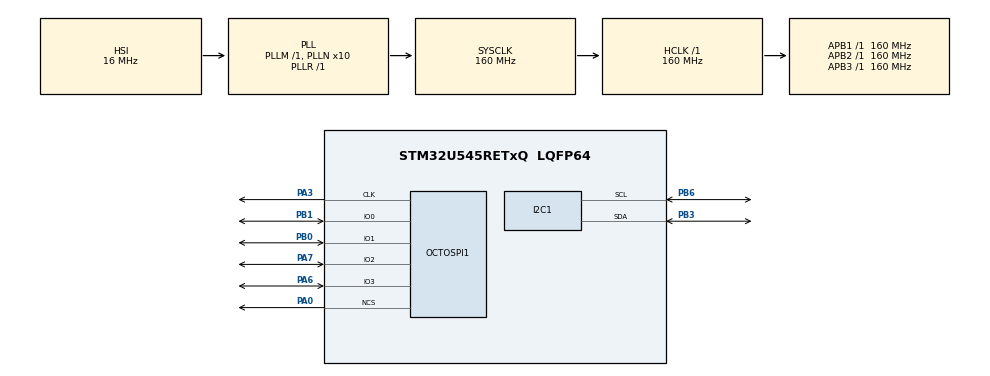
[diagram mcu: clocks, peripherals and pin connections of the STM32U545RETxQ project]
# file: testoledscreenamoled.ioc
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CORTEX_M33_NS.userName=CORTEX_M33
GPDMA1.IPHANDLE_GPDMACH0-SIMPLEREQUEST_GPDMACH0=__NULL
GPDMA1.REQUEST_GPDMACH0=GPDMA1_REQUEST_OCTOSPI1
I2C1.Timing=0x30909DEC
Mcu.Family=STM32U5
Mcu.Name=STM32U545RETxQ
Mcu.Package=LQFP64
NUCLEO-U545RE-Q.BUTTON=1
NUCLEO-U545RE-Q.LD2=true
NUCLEO-U545RE-Q.VCP=true
NVIC.EXTI13_IRQn=true\:0\:0\:false\:false\:true\:false\:true\:true
NVIC.GPDMA1_Channel0_IRQn=true\:0\:0\:false\:false\:true\:false\:true\:true
NVIC.OCTOSPI1_IRQn=true\:0\:0\:false\:false\:true\:true\:true\:true
NVIC.PriorityGroup=NVIC_PRIORITYGROUP_4
OCTOSPI1.ChipSelectHighTime=2
OCTOSPI1.ClockPrescaler=32
OCTOSPI1.FifoThreshold=4
PA0.GPIO_Speed=GPIO_SPEED_FREQ_LOW
PA0.Mode=quad_mode
PA0.Signal=OCTOSPI1_NCS
PA3.GPIO_Speed=GPIO_SPEED_FREQ_LOW
PA3.Mode=quad_mode
PA3.Signal=OCTOSPI1_CLK
PA6.GPIO_Speed=GPIO_SPEED_FREQ_LOW
PA6.Mode=quad_mode
PA6.Signal=OCTOSPI1_IO3
PA7.GPIO_Speed=GPIO_SPEED_FREQ_LOW
PA7.Mode=quad_mode
PA7.Signal=OCTOSPI1_IO2
PB0.GPIO_Speed=GPIO_SPEED_FREQ_LOW
PB0.Mode=quad_mode
PB0.Signal=OCTOSPI1_IO1
PB1.GPIO_Speed=GPIO_SPEED_FREQ_LOW
PB1.Mode=quad_mode
PB1.Signal=OCTOSPI1_IO0
PB3\ (JTDO/TRACESWO).Mode=I2C
PB3\ (JTDO/TRACESWO).Signal=I2C1_SDA
PB6.Mode=I2C
PB6.Signal=I2C1_SCL
PWR.PowerMode=PWR_SMPS_SUPPLY
ProjectManager.HeapSize=0x200
ProjectManager.StackSize=0x400
ProjectManager.TargetToolchain=CMake
RCC.ADCFreq_Value=16000000
RCC.AHBFreq_Value=160000000
RCC.APB1Freq_Value=160000000
RCC.APB1TimFreq_Value=160000000
RCC.APB2Freq_Value=160000000
RCC.APB2TimFreq_Value=160000000
RCC.APB3Freq_Value=160000000
RCC.CortexFreq_Value=160000000
RCC.DACCLockSelectionVirtual=RCC_DAC1CLKSOURCE_LSI
RCC.DACCLockSelectionVirtualString=RCC_DAC1CLKSOURCE_LSI
RCC.EPOD_VALUE=16000000
RCC.HCLKFreq_Value=160000000
RCC.HSE_VALUE=16000000
RCC.HSI48_VALUE=48000000
RCC.HSI_VALUE=16000000
RCC.LSE_VALUE=32768
RCC.LSIDIV_VALUE=32000
RCC.MSI_VALUE=4000000
RCC.PLL1R=1
RCC.PLLFRACN=0
RCC.PLLN=10
RCC.PLLSourceVirtual=RCC_PLLSOURCE_HSI
RCC.SYSCLKFreq_VALUE=160000000
RCC.SYSCLKSource=RCC_SYSCLKSOURCE_PLLCLK
RCC.USBFreq_Value=48000000
RCC.VCOOutputFreq_Value=160000000
VP_GPDMA1_VS_GPDMACH0.Mode=SIMPLEREQUEST_GPDMACH0
VP_ICACHE_VS_ICACHE.Mode=DirectMappedCache
VP_LPBAMQUEUE_VS_QUEUE.Mode=QUEUEMODE
VP_MEMORYMAP_VS_MEMORYMAP.Mode=CurAppReg
VP_NUCLEO-U545RE-Q_VS_BSP_COMMON.Mode=COMMON
VP_PWR_VS_LPOM.Mode=PowerOptimisation
VP_PWR_VS_SECSignals.Mode=Security/Privilege
board=NUCLEO-U545RE-Q

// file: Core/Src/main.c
/* USER CODE BEGIN Header */
/**
  ******************************************************************************
  * @file           : main.c
  * @brief          : Main program body
  ******************************************************************************
  * @attention
  *
  * Copyright (c) 2026 STMicroelectronics.
  * All rights reserved.
  *
  * This software is licensed under terms that can be found in the LICENSE file
  * in the root directory of this software component.
  * If no LICENSE file comes with this software, it is provided AS-IS.
  *
  ******************************************************************************
  */
/* USER CODE END Header */
#include "main.h"

/* USER CODE BEGIN Includes */
#include "co5300.h"
#include "cst820.h"
#include "ui.h"

/* USER CODE END Includes */

COM_InitTypeDef BspCOMInit;

I2C_HandleTypeDef hi2c1;

OSPI_HandleTypeDef hospi1;
DMA_HandleTypeDef handle_GPDMA1_Channel0;

/* USER CODE BEGIN PV */
static volatile uint8_t s_buttonPressed;

/* USER CODE END PV */

void SystemClock_Config(void);
static void SystemPower_Config(void);
static void MX_GPIO_Init(void);
static void MX_GPDMA1_Init(void);
static void MX_ICACHE_Init(void);
static void MX_OCTOSPI1_Init(void);
static void MX_I2C1_Init(void);

int main(void)
{

  /* MCU Configuration--------------------------------------------------------*/

  /* Reset of all peripherals, Initializes the Flash interface and the Systick. */
  HAL_Init();

  /* Configure the System Power */
  SystemPower_Config();

  /* Configure the system clock */
  SystemClock_Config();

  /* Initialize all configured peripherals */
  MX_GPIO_Init();
  MX_GPDMA1_Init();
  MX_ICACHE_Init();
  MX_OCTOSPI1_Init();
  MX_I2C1_Init();

  /* Initialize led */
  BSP_LED_Init(LED_GREEN);

  /* Initialize USER push-button, will be used to trigger an interrupt each time it's pressed.*/
  BSP_PB_Init(BUTTON_USER, BUTTON_MODE_EXTI);

  /* Initialize COM1 port (115200, 8 bits (7-bit data + 1 stop bit), no parity */
  BspCOMInit.BaudRate   = 115200;
  BspCOMInit.WordLength = COM_WORDLENGTH_8B;
  BspCOMInit.StopBits   = COM_STOPBITS_1;
  BspCOMInit.Parity     = COM_PARITY_NONE;
  BspCOMInit.HwFlowCtl  = COM_HWCONTROL_NONE;
  if (BSP_COM_Init(COM1, &BspCOMInit) != BSP_ERROR_NONE)
  {
    Error_Handler();
  }

  /* Infinite loop */
  /* USER CODE BEGIN WHILE */
  static const uint8_t brightnessLevels[] = { 0x30U, 0xA0U, 0xFFU };
  uint32_t brightnessIdx = 1U;
  bool touchOk;
  uint32_t nextFrame;
  uint32_t statStart;
  uint32_t statFrames = 0U;
  uint32_t statPixels = 0U;

  printf("\r\n1.73\" AMOLED demo (CO5300 + CST820)\r\n");

  if (CO5300_Init() != HAL_OK)
  {
    printf("CO5300 init failed (OCTOSPI error 0x%08lX)\r\n", (unsigned long)hospi1.ErrorCode);
    Error_Handler();
  }
  (void)CO5300_SetBrightness(brightnessLevels[brightnessIdx]);

  touchOk = (CST820_Init() == HAL_OK);
  printf(touchOk ? "CST820 touch found\r\n" : "CST820 touch not answering on I2C1\r\n");
  printf("Tap the screen to switch between the watch face and the orbs.\r\n");
  printf("On the orbs screen, hold a finger down to pull them. USER button: brightness.\r\n");

  UI_Init(HAL_GetTick());
  nextFrame = HAL_GetTick();
  statStart = nextFrame;

  while (1)
  {
    CST820_Touch touch = {0};
    uint32_t now;

    /* pace the animation at about 30 frames per second */
    while ((int32_t)(HAL_GetTick() - nextFrame) < 0)
    {
    }
    now = HAL_GetTick();
    nextFrame = now + 33U;

    if (s_buttonPressed != 0U)
    {
      s_buttonPressed = 0U;
      brightnessIdx = (brightnessIdx + 1U) % sizeof(brightnessLevels);
      (void)CO5300_SetBrightness(brightnessLevels[brightnessIdx]);
      printf("brightness 0x%02X\r\n", brightnessLevels[brightnessIdx]);
    }

    if (touchOk)
    {
      (void)CST820_Read(&touch);
    }
    UI_Frame(now, touch.pressed, touch.x, touch.y);
    if (touch.pressed) { BSP_LED_On(LED_GREEN); } else { BSP_LED_Off(LED_GREEN); }

    /* frame statistics every 5 s */
    statFrames++;
    statPixels += UI_LastFramePixels();
    if ((HAL_GetTick() - statStart) >= 5000U)
    {
      printf("%lu.%lu fps, %lu pixels/frame\r\n",
             (unsigned long)(statFrames / 5U), (unsigned long)((statFrames * 2U) % 10U),
             (unsigned long)(statPixels / statFrames));
      statFrames = 0U;
      statPixels = 0U;
      statStart = HAL_GetTick();
    }
    /* USER CODE END WHILE */

  }
}

void SystemClock_Config(void)
{
  RCC_OscInitTypeDef RCC_OscInitStruct = {0};
  RCC_ClkInitTypeDef RCC_ClkInitStruct = {0};

  /** Configure the main internal regulator output voltage
  */
  if (HAL_PWREx_ControlVoltageScaling(PWR_REGULATOR_VOLTAGE_SCALE1) != HAL_OK)
  {
    Error_Handler();
  }

  /** Initializes the CPU, AHB and APB buses clocks
  */
  RCC_OscInitStruct.OscillatorType = RCC_OSCILLATORTYPE_HSI;
  RCC_OscInitStruct.HSIState = RCC_HSI_ON;
  RCC_OscInitStruct.HSICalibrationValue = RCC_HSICALIBRATION_DEFAULT;
  RCC_OscInitStruct.PLL.PLLState = RCC_PLL_ON;
  RCC_OscInitStruct.PLL.PLLSource = RCC_PLLSOURCE_HSI;
  RCC_OscInitStruct.PLL.PLLMBOOST = RCC_PLLMBOOST_DIV1;
  RCC_OscInitStruct.PLL.PLLM = 1;
  RCC_OscInitStruct.PLL.PLLN = 10;
  RCC_OscInitStruct.PLL.PLLP = 2;
  RCC_OscInitStruct.PLL.PLLQ = 2;
  RCC_OscInitStruct.PLL.PLLR = 1;
  RCC_OscInitStruct.PLL.PLLRGE = RCC_PLLVCIRANGE_1;
  RCC_OscInitStruct.PLL.PLLFRACN = 0;
  if (HAL_RCC_OscConfig(&RCC_OscInitStruct) != HAL_OK)
  {
    Error_Handler();
  }

  /** Initializes the CPU, AHB and APB buses clocks
  */
  RCC_ClkInitStruct.ClockType = RCC_CLOCKTYPE_HCLK|RCC_CLOCKTYPE_SYSCLK
                              |RCC_CLOCKTYPE_PCLK1|RCC_CLOCKTYPE_PCLK2
                              |RCC_CLOCKTYPE_PCLK3;
  RCC_ClkInitStruct.SYSCLKSource = RCC_SYSCLKSOURCE_PLLCLK;
  RCC_ClkInitStruct.AHBCLKDivider = RCC_SYSCLK_DIV1;
  RCC_ClkInitStruct.APB1CLKDivider = RCC_HCLK_DIV1;
  RCC_ClkInitStruct.APB2CLKDivider = RCC_HCLK_DIV1;
  RCC_ClkInitStruct.APB3CLKDivider = RCC_HCLK_DIV1;

  if (HAL_RCC_ClockConfig(&RCC_ClkInitStruct, FLASH_LATENCY_4) != HAL_OK)
  {
    Error_Handler();
  }
}

/**
  * @brief Power Configuration
  * @retval None
  */
static void SystemPower_Config(void)
{

  /*
   * Switch to SMPS regulator instead of LDO
   */
  if (HAL_PWREx_ConfigSupply(PWR_SMPS_SUPPLY) != HAL_OK)
  {
    Error_Handler();
  }
}

static void MX_GPDMA1_Init(void)
{

  /* Peripheral clock enable */
  __HAL_RCC_GPDMA1_CLK_ENABLE();

  /* GPDMA1 interrupt Init */
    HAL_NVIC_SetPriority(GPDMA1_Channel0_IRQn, 0, 0);
    HAL_NVIC_EnableIRQ(GPDMA1_Channel0_IRQn);

}

static void MX_I2C1_Init(void)
{

  hi2c1.Instance = I2C1;
  hi2c1.Init.Timing = 0x30909DEC;
  hi2c1.Init.OwnAddress1 = 0;
  hi2c1.Init.AddressingMode = I2C_ADDRESSINGMODE_7BIT;
  hi2c1.Init.DualAddressMode = I2C_DUALADDRESS_DISABLE;
  hi2c1.Init.OwnAddress2 = 0;
  hi2c1.Init.OwnAddress2Masks = I2C_OA2_NOMASK;
  hi2c1.Init.GeneralCallMode = I2C_GENERALCALL_DISABLE;
  hi2c1.Init.NoStretchMode = I2C_NOSTRETCH_DISABLE;
  if (HAL_I2C_Init(&hi2c1) != HAL_OK)
  {
    Error_Handler();
  }

  /** Configure Analogue filter
  */
  if (HAL_I2CEx_ConfigAnalogFilter(&hi2c1, I2C_ANALOGFILTER_ENABLE) != HAL_OK)
  {
    Error_Handler();
  }

  /** Configure Digital filter
  */
  if (HAL_I2CEx_ConfigDigitalFilter(&hi2c1, 0) != HAL_OK)
  {
    Error_Handler();
  }

}

static void MX_ICACHE_Init(void)
{

  /** Enable instruction cache in 1-way (direct mapped cache)
  */
  if (HAL_ICACHE_ConfigAssociativityMode(ICACHE_1WAY) != HAL_OK)
  {
    Error_Handler();
  }
  if (HAL_ICACHE_Enable() != HAL_OK)
  {
    Error_Handler();
  }

}

static void MX_OCTOSPI1_Init(void)
{

  /* OCTOSPI1 parameter configuration*/
  hospi1.Instance = OCTOSPI1;
  hospi1.Init.FifoThreshold = 4;
  hospi1.Init.DualQuad = HAL_OSPI_DUALQUAD_DISABLE;
  hospi1.Init.MemoryType = HAL_OSPI_MEMTYPE_MICRON;
  hospi1.Init.DeviceSize = 32;
  hospi1.Init.ChipSelectHighTime = 2;
  hospi1.Init.FreeRunningClock = HAL_OSPI_FREERUNCLK_DISABLE;
  hospi1.Init.ClockMode = HAL_OSPI_CLOCK_MODE_0;
  hospi1.Init.WrapSize = HAL_OSPI_WRAP_NOT_SUPPORTED;
  hospi1.Init.ClockPrescaler = 32;
  hospi1.Init.SampleShifting = HAL_OSPI_SAMPLE_SHIFTING_NONE;
  hospi1.Init.DelayHoldQuarterCycle = HAL_OSPI_DHQC_DISABLE;
  hospi1.Init.ChipSelectBoundary = 0;
  hospi1.Init.MaxTran = 0;
  hospi1.Init.Refresh = 0;
  if (HAL_OSPI_Init(&hospi1) != HAL_OK)
  {
    Error_Handler();
  }

}

static void MX_GPIO_Init(void)
{

  /* GPIO Ports Clock Enable */
  __HAL_RCC_GPIOA_CLK_ENABLE();
  __HAL_RCC_GPIOB_CLK_ENABLE();

}

/* USER CODE BEGIN 4 */
/**
  * @brief  USER button (EXTI) callback from the Nucleo BSP.
  */
void BSP_PB_Callback(Button_TypeDef Button)
{
  if (Button == BUTTON_USER)
  {
    s_buttonPressed = 1U;
  }
}

/* USER CODE END 4 */

void Error_Handler(void)
{
  __disable_irq();
  while (1)
  {
  }
}
